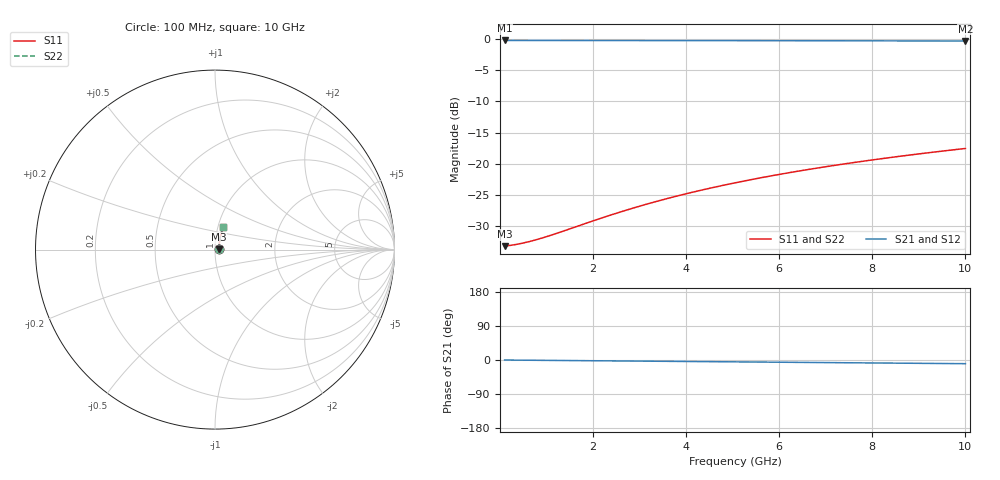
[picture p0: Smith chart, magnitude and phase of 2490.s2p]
# Hz S RI R 50.00
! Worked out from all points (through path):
!   100 points, 100 MHz to 10 GHz, reference 50 ohm
!   highest |S21| = -0.19 dB at 100 MHz (marker M1); lowest = -0.3 dB at 10 GHz (marker M2)
!   group delay of S21, straight-line fit = 2.7 ps
!   lowest |S11| = -33.3 dB at 100 MHz (marker M3), VSWR 1.04, Z = 52.2 + j0.133 ohm
!   |S11| at or under -10 dB: start of sweep to end of sweep
!   |S22| runs from -33.3 to -17.6 dB; largest |S21 - S12| = 0
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1e8  0.0216 0.00128  0.9784 -0.00167  0.9784 -0.00167  0.0216 0.00128
3e8  0.0219 0.00383  0.9781 -0.00499  0.9781 -0.00499  0.0219 0.00383
4e8  0.022 0.0051  0.978 -0.00666  0.978 -0.00666  0.022 0.0051
6e8  0.0222 0.00765  0.9778 -0.00998  0.9778 -0.00998  0.0222 0.00765
8e8  0.0223 0.0102  0.9777 -0.0133  0.9777 -0.0133  0.0223 0.0102
1e9  0.0225 0.0127  0.9775 -0.0166  0.9775 -0.0166  0.0225 0.0127
1.2e9  0.0227 0.0153  0.9773 -0.02  0.9773 -0.02  0.0227 0.0153
1.8e9  0.0232 0.0229  0.9767 -0.0299  0.9767 -0.0299  0.0232 0.0229
2.2e9  0.0237 0.028  0.9763 -0.0365  0.9763 -0.0365  0.0237 0.028
2.6e9  0.0242 0.0331  0.9758 -0.0432  0.9758 -0.0432  0.0242 0.0331
3e9  0.0247 0.0381  0.9752 -0.0498  0.9752 -0.0498  0.0247 0.0381
3.4e9  0.0254 0.0432  0.9745 -0.0564  0.9745 -0.0564  0.0254 0.0432
3.8e9  0.026 0.0482  0.9738 -0.063  0.9738 -0.063  0.026 0.0482
4.2e9  0.0268 0.0533  0.9731 -0.0696  0.9731 -0.0696  0.0268 0.0533
4.6e9  0.0276 0.0583  0.9722 -0.0762  0.9722 -0.0762  0.0276 0.0583
5.1e9  0.0287 0.0645  0.9711 -0.0844  0.9711 -0.0844  0.0287 0.0645
5.9e9  0.0307 0.0745  0.969 -0.0975  0.969 -0.0975  0.0307 0.0745
6.7e9  0.0329 0.0844  0.9667 -0.1105  0.9667 -0.1105  0.0329 0.0844
7.5e9  0.0354 0.0943  0.9641 -0.1235  0.9641 -0.1235  0.0354 0.0943
8.4e9  0.0386 0.1052  0.9608 -0.138  0.9608 -0.138  0.0386 0.1052
9.2e9  0.0416 0.1149  0.9577 -0.1508  0.9577 -0.1508  0.0416 0.1149
1e10  0.045 0.1245  0.9542 -0.1635  0.9542 -0.1635  0.045 0.1245
